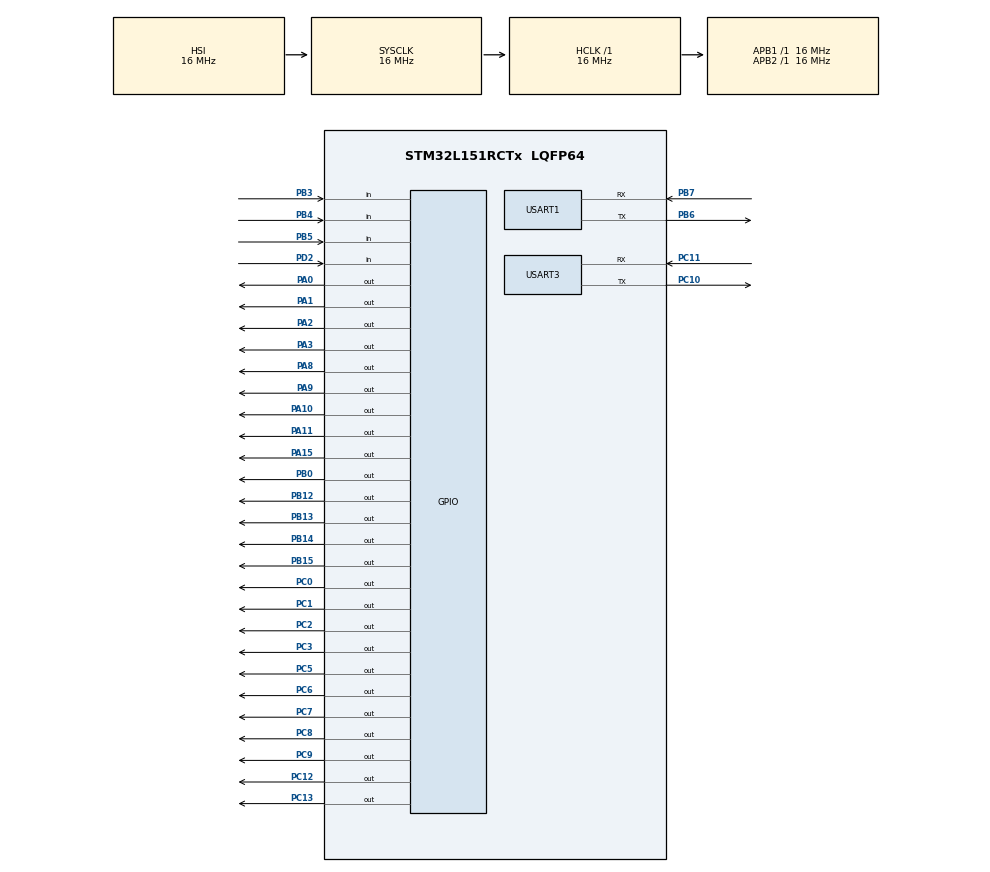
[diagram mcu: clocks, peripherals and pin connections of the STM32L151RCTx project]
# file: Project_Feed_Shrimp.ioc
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Mcu.Family=STM32L1
Mcu.Name=STM32L151RCTx
Mcu.Package=LQFP64
NVIC.PriorityGroup=NVIC_PRIORITYGROUP_4
NVIC.TIM2_IRQn=true\:1\:0\:true\:false\:true\:true\:true
NVIC.USART1_IRQn=true\:2\:0\:true\:false\:true\:true\:true
NVIC.USART3_IRQn=true\:3\:0\:true\:false\:true\:true\:true
PA0-WKUP1.Signal=GPIO_Output
PA1.Signal=GPIO_Output
PA10.Signal=GPIO_Output
PA11.Signal=GPIO_Output
PA13.Mode=Serial_Wire
PA13.Signal=SYS_JTMS-SWDIO
PA14.Mode=Serial_Wire
PA14.Signal=SYS_JTCK-SWCLK
PA15.Signal=GPIO_Output
PA2.Signal=GPIO_Output
PA3.Signal=GPIO_Output
PA8.Signal=GPIO_Output
PA9.Signal=GPIO_Output
PB0.Signal=GPIO_Output
PB12.Signal=GPIO_Output
PB13.Signal=GPIO_Output
PB14.Signal=GPIO_Output
PB15.Signal=GPIO_Output
PB3.GPIO_PuPd=GPIO_PULLUP
PB3.Signal=GPIO_Input
PB4.GPIO_PuPd=GPIO_PULLUP
PB4.Signal=GPIO_Input
PB5.GPIO_PuPd=GPIO_PULLUP
PB5.Signal=GPIO_Input
PB6.Mode=Asynchronous
PB6.Signal=USART1_TX
PB7.Mode=Asynchronous
PB7.Signal=USART1_RX
PC0.Signal=GPIO_Output
PC1.Signal=GPIO_Output
PC10.Mode=Asynchronous
PC10.Signal=USART3_TX
PC11.Mode=Asynchronous
PC11.Signal=USART3_RX
PC12.Signal=GPIO_Output
PC13-WKUP2.Signal=GPIO_Output
PC2.Signal=GPIO_Output
PC3.Signal=GPIO_Output
PC5.Signal=GPIO_Output
PC6.Signal=GPIO_Output
PC7.Signal=GPIO_Output
PC8.Signal=GPIO_Output
PC9.Signal=GPIO_Output
PD2.GPIO_PuPd=GPIO_PULLUP
PD2.Signal=GPIO_Input
ProjectManager.HeapSize=0x200
ProjectManager.StackSize=0x400
ProjectManager.TargetToolchain=MDK-ARM V5
RCC.AHBFreq_Value=16000000
RCC.APB1Freq_Value=16000000
RCC.APB1TimFreq_Value=16000000
RCC.APB2Freq_Value=16000000
RCC.APB2TimFreq_Value=16000000
RCC.HCLKFreq_Value=16000000
RCC.HSE_VALUE=24000000
RCC.HSI_VALUE=16000000
RCC.LSE_VALUE=32768
RCC.MSI_VALUE=2097000
RCC.SYSCLKFreq_VALUE=16000000
RCC.SYSCLKSource=RCC_SYSCLKSOURCE_HSI
RCC.VCOOutputFreq_Value=48000000
TIM2.Period=1000
TIM2.Prescaler=16000
USART1.VirtualMode=VM_ASYNC
USART3.VirtualMode=VM_ASYNC
VP_TIM2_VS_ClockSourceINT.Mode=Internal
board=custom

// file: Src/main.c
/* USER CODE BEGIN Header */
/**
  ******************************************************************************
  * @file           : main.c
  * @brief          : Main program body
  ******************************************************************************
  * @attention
  *
  * <h2><center>&copy; Copyright (c) 2023 STMicroelectronics.
  * All rights reserved.</center></h2>
  *
  * This software component is licensed by ST under BSD 3-Clause license,
  * the "License"; You may not use this file except in compliance with the
  * License. You may obtain a copy of the License at:
  *                        opensource.org/licenses/BSD-3-Clause
  *
  ******************************************************************************
  */
/* USER CODE END Header */

#include "main.h"

/* USER CODE BEGIN Includes */
#include "main.h"
#include "CLCD.h"
#include "user_LCD.h"
#include "check_Button.h"
#include "Relay_Led.h"
#include "user_LCD_object.h"
#include "user_check_button.h"
#include "uart_sim.h"
#include "user_sim.h"
/* USER CODE END Includes */

/* USER CODE BEGIN PD */
#define RELAY1 GPIO_PIN_2
#define RELAY2 GPIO_PIN_3
#define RELAY3 GPIO_PIN_0
#define RELAY4 GPIO_PIN_1
#define LED5   GPIO_PIN_0
#define LED6   GPIO_PIN_1

#define On_Off_Sim GPIO_PIN_13
#define Pin_PWKEY  GPIO_PIN_0
#define Pin_RESET  GPIO_PIN_5
/* USER CODE END PD */

TIM_HandleTypeDef htim2;

UART_HandleTypeDef huart1;
UART_HandleTypeDef huart3;

/* USER CODE BEGIN PV */
uint32_t runTime=0;
uint32_t time1=10; //so giay cho an
uint32_t time2=10;	//so phut giua 2 chu ky ban
uint32_t time3=5; //thoi gian giua 2 moto vang va chinh luong

uint16_t State=1;
uint16_t checkState=0;
uint16_t countState=0;
uint16_t setupCount=1;
uint16_t check_Power_OFF=0;

//gio phut giay
uint16_t hh, mm, ss;

CLCD_Name LCD;

UART_BUFFER rx_uart3;
UART_BUFFER rx_uart1;
/* USER CODE END PV */

void SystemClock_Config(void);
static void MX_GPIO_Init(void);
static void MX_TIM2_Init(void);
static void MX_USART1_UART_Init(void);
static void MX_USART3_UART_Init(void);
/* USER CODE BEGIN PFP */
void HAL_TIM_PeriodElapsedCallback(TIM_HandleTypeDef *htim);
void HAL_UART_RxCpltCallback(UART_HandleTypeDef *huart);
/* USER CODE END PFP */

/* USER CODE BEGIN 0 */
void Delay_1ms(void);
void Delay_s(int time);
void Check_BT_Callback(void);
void Check_Test(void);
void Set_Time(uint16_t *hh, uint16_t *mm, uint16_t *ss);
void Run_Feed_Shrimp(void);
void BT_Check_Up_Down(void);
void Display_Time(void);
void Setup_SIM(void);
void Read_Flash(void);
void Check_SMS_Receive(void);
/* USER CODE END 0 */

int main(void)
{
  /* USER CODE BEGIN 1 */
	rx_uart1.huart=&huart1;
	rx_uart3.huart=&huart3;
  /* USER CODE END 1 */

  /* MCU Configuration--------------------------------------------------------*/

  /* Reset of all peripherals, Initializes the Flash interface and the Systick. */
  HAL_Init();

  /* Configure the system clock */
  SystemClock_Config();

  /* Initialize all configured peripherals */
  MX_GPIO_Init();
  MX_TIM2_Init();
  MX_USART1_UART_Init();
  MX_USART3_UART_Init();
  /* USER CODE BEGIN 2 */
	HAL_TIM_Base_Start_IT(&htim2);
	HAL_UART_Receive_IT(&huart3,&rx_uart3.buffer,1);
	HAL_UART_Receive_IT(&huart1,&rx_uart1.buffer,1);

	CLCD_4BIT_Init(&LCD, 16,2, GPIOC, GPIO_PIN_8,GPIOC, GPIO_PIN_7,
                             GPIOC, GPIO_PIN_6,GPIOB, GPIO_PIN_15,
                             GPIOB, GPIO_PIN_14,GPIOB, GPIO_PIN_12);

	Setup_SIM();
	Read_Flash();

	CLCD_SetCursor(&LCD, 0,0);
	CLCD_WriteString(&LCD, "        00:00:00");

	//Receive_SMS_Setup("+CMT: +84966674796,23/03/14,09:34:14+28 SETUP T1=  100  t3:199", &time1, &time2, &time3);
	Run_Begin(&setupCount, time1, time2, time3);
  /* USER CODE END 2 */

  /* Infinite loop */
	while (1)
  {

    /* USER CODE BEGIN 3 */
		//while(Compare_Uart1_RX_Uart3_TX(&rx_uart1, &rx_uart3, "OK123")==0){}

		Check_SMS_Receive();

		Display_Time();
		Check_BT_Callback();

		if(State==0 )
		{
			Check_Test();
			BT_Esc_Exit_Setup(&State, &setupCount, &time1, &time2, &time3);
			USER_LCD_Display_Running_OR_Setup(State);
			if(setupCount!=3) BT_Check_Up_Down();
			USER_LCD_Display_Setup(&LCD, setupCount);
		}

		if(State==1)
		{
			Run_Feed_Shrimp();
			USER_LCD_Display_Running_OR_Setup(State);
			USER_LCD_Display_Running(&LCD, setupCount);
			Check_Test();
		}
  }
  /* USER CODE END 3 */
}

void SystemClock_Config(void)
{
  RCC_OscInitTypeDef RCC_OscInitStruct = {0};
  RCC_ClkInitTypeDef RCC_ClkInitStruct = {0};

  /** Configure the main internal regulator output voltage
  */
  __HAL_PWR_VOLTAGESCALING_CONFIG(PWR_REGULATOR_VOLTAGE_SCALE1);
  /** Initializes the CPU, AHB and APB busses clocks
  */
  RCC_OscInitStruct.OscillatorType = RCC_OSCILLATORTYPE_HSI;
  RCC_OscInitStruct.HSIState = RCC_HSI_ON;
  RCC_OscInitStruct.HSICalibrationValue = RCC_HSICALIBRATION_DEFAULT;
  RCC_OscInitStruct.PLL.PLLState = RCC_PLL_NONE;
  if (HAL_RCC_OscConfig(&RCC_OscInitStruct) != HAL_OK)
  {
    Error_Handler();
  }
  /** Initializes the CPU, AHB and APB busses clocks
  */
  RCC_ClkInitStruct.ClockType = RCC_CLOCKTYPE_HCLK|RCC_CLOCKTYPE_SYSCLK
                              |RCC_CLOCKTYPE_PCLK1|RCC_CLOCKTYPE_PCLK2;
  RCC_ClkInitStruct.SYSCLKSource = RCC_SYSCLKSOURCE_HSI;
  RCC_ClkInitStruct.AHBCLKDivider = RCC_SYSCLK_DIV1;
  RCC_ClkInitStruct.APB1CLKDivider = RCC_HCLK_DIV1;
  RCC_ClkInitStruct.APB2CLKDivider = RCC_HCLK_DIV1;

  if (HAL_RCC_ClockConfig(&RCC_ClkInitStruct, FLASH_LATENCY_0) != HAL_OK)
  {
    Error_Handler();
  }
}

static void MX_TIM2_Init(void)
{

  TIM_ClockConfigTypeDef sClockSourceConfig = {0};
  TIM_MasterConfigTypeDef sMasterConfig = {0};

  htim2.Instance = TIM2;
  htim2.Init.Prescaler = 16000;
  htim2.Init.CounterMode = TIM_COUNTERMODE_UP;
  htim2.Init.Period = 1000;
  htim2.Init.ClockDivision = TIM_CLOCKDIVISION_DIV1;
  htim2.Init.AutoReloadPreload = TIM_AUTORELOAD_PRELOAD_DISABLE;
  if (HAL_TIM_Base_Init(&htim2) != HAL_OK)
  {
    Error_Handler();
  }
  sClockSourceConfig.ClockSource = TIM_CLOCKSOURCE_INTERNAL;
  if (HAL_TIM_ConfigClockSource(&htim2, &sClockSourceConfig) != HAL_OK)
  {
    Error_Handler();
  }
  sMasterConfig.MasterOutputTrigger = TIM_TRGO_RESET;
  sMasterConfig.MasterSlaveMode = TIM_MASTERSLAVEMODE_DISABLE;
  if (HAL_TIMEx_MasterConfigSynchronization(&htim2, &sMasterConfig) != HAL_OK)
  {
    Error_Handler();
  }

}

static void MX_USART1_UART_Init(void)
{

  huart1.Instance = USART1;
  huart1.Init.BaudRate = 115200;
  huart1.Init.WordLength = UART_WORDLENGTH_8B;
  huart1.Init.StopBits = UART_STOPBITS_1;
  huart1.Init.Parity = UART_PARITY_NONE;
  huart1.Init.Mode = UART_MODE_TX_RX;
  huart1.Init.HwFlowCtl = UART_HWCONTROL_NONE;
  huart1.Init.OverSampling = UART_OVERSAMPLING_16;
  if (HAL_UART_Init(&huart1) != HAL_OK)
  {
    Error_Handler();
  }

}

static void MX_USART3_UART_Init(void)
{

  huart3.Instance = USART3;
  huart3.Init.BaudRate = 115200;
  huart3.Init.WordLength = UART_WORDLENGTH_8B;
  huart3.Init.StopBits = UART_STOPBITS_1;
  huart3.Init.Parity = UART_PARITY_NONE;
  huart3.Init.Mode = UART_MODE_TX_RX;
  huart3.Init.HwFlowCtl = UART_HWCONTROL_NONE;
  huart3.Init.OverSampling = UART_OVERSAMPLING_16;
  if (HAL_UART_Init(&huart3) != HAL_OK)
  {
    Error_Handler();
  }

}

static void MX_GPIO_Init(void)
{
  GPIO_InitTypeDef GPIO_InitStruct = {0};

  /* GPIO Ports Clock Enable */
  __HAL_RCC_GPIOC_CLK_ENABLE();
  __HAL_RCC_GPIOA_CLK_ENABLE();
  __HAL_RCC_GPIOB_CLK_ENABLE();
  __HAL_RCC_GPIOD_CLK_ENABLE();

  /*Configure GPIO pin Output Level */
  HAL_GPIO_WritePin(GPIOC, GPIO_PIN_13|GPIO_PIN_0|GPIO_PIN_1|GPIO_PIN_2
                          |GPIO_PIN_3|GPIO_PIN_5|GPIO_PIN_6|GPIO_PIN_7
                          |GPIO_PIN_8|GPIO_PIN_9|GPIO_PIN_12, GPIO_PIN_RESET);

  /*Configure GPIO pin Output Level */
  HAL_GPIO_WritePin(GPIOA, GPIO_PIN_0|GPIO_PIN_1|GPIO_PIN_2|GPIO_PIN_3
                          |GPIO_PIN_8|GPIO_PIN_9|GPIO_PIN_10|GPIO_PIN_11
                          |GPIO_PIN_15, GPIO_PIN_RESET);

  /*Configure GPIO pin Output Level */
  HAL_GPIO_WritePin(GPIOB, GPIO_PIN_0|GPIO_PIN_12|GPIO_PIN_13|GPIO_PIN_14
                          |GPIO_PIN_15, GPIO_PIN_RESET);

  /*Configure GPIO pins : PC13 PC0 PC1 PC2
                           PC3 PC5 PC6 PC7
                           PC8 PC9 PC12 */
  GPIO_InitStruct.Pin = GPIO_PIN_13|GPIO_PIN_0|GPIO_PIN_1|GPIO_PIN_2
                          |GPIO_PIN_3|GPIO_PIN_5|GPIO_PIN_6|GPIO_PIN_7
                          |GPIO_PIN_8|GPIO_PIN_9|GPIO_PIN_12;
  GPIO_InitStruct.Mode = GPIO_MODE_OUTPUT_PP;
  GPIO_InitStruct.Pull = GPIO_NOPULL;
  GPIO_InitStruct.Speed = GPIO_SPEED_FREQ_LOW;
  HAL_GPIO_Init(GPIOC, &GPIO_InitStruct);

  /*Configure GPIO pins : PA0 PA1 PA2 PA3
                           PA8 PA9 PA10 PA11
                           PA15 */
  GPIO_InitStruct.Pin = GPIO_PIN_0|GPIO_PIN_1|GPIO_PIN_2|GPIO_PIN_3
                          |GPIO_PIN_8|GPIO_PIN_9|GPIO_PIN_10|GPIO_PIN_11
                          |GPIO_PIN_15;
  GPIO_InitStruct.Mode = GPIO_MODE_OUTPUT_PP;
  GPIO_InitStruct.Pull = GPIO_NOPULL;
  GPIO_InitStruct.Speed = GPIO_SPEED_FREQ_LOW;
  HAL_GPIO_Init(GPIOA, &GPIO_InitStruct);

  /*Configure GPIO pins : PB0 PB12 PB13 PB14
                           PB15 */
  GPIO_InitStruct.Pin = GPIO_PIN_0|GPIO_PIN_12|GPIO_PIN_13|GPIO_PIN_14
                          |GPIO_PIN_15;
  GPIO_InitStruct.Mode = GPIO_MODE_OUTPUT_PP;
  GPIO_InitStruct.Pull = GPIO_NOPULL;
  GPIO_InitStruct.Speed = GPIO_SPEED_FREQ_LOW;
  HAL_GPIO_Init(GPIOB, &GPIO_InitStruct);

  /*Configure GPIO pin : PD2 */
  GPIO_InitStruct.Pin = GPIO_PIN_2;
  GPIO_InitStruct.Mode = GPIO_MODE_INPUT;
  GPIO_InitStruct.Pull = GPIO_PULLUP;
  HAL_GPIO_Init(GPIOD, &GPIO_InitStruct);

  /*Configure GPIO pins : PB3 PB4 PB5 */
  GPIO_InitStruct.Pin = GPIO_PIN_3|GPIO_PIN_4|GPIO_PIN_5;
  GPIO_InitStruct.Mode = GPIO_MODE_INPUT;
  GPIO_InitStruct.Pull = GPIO_PULLUP;
  HAL_GPIO_Init(GPIOB, &GPIO_InitStruct);

}

/* USER CODE BEGIN 4 */

void Check_SMS_Receive(void)
{
	if(Wait_SMS_Receive(&rx_uart1,&rx_uart3,"AT+RESET")==1)
	{
		Reset_Relay_Led(GPIOC, RELAY1, GPIOC, RELAY2,GPIOC, LED5);
		Reset_Relay_Led(GPIOA, RELAY3, GPIOA, RELAY4,GPIOC, LED6);
		runTime=0;
		countState=0;
		Delete_Buffer(&rx_uart3);
	}
	if(Wait_SMS_Receive(&rx_uart1,&rx_uart3,"SETUP")==1)
	{
		Receive_SMS_Setup(rx_uart3.sim_rx, &time1, &time2, &time3);
		Reset_Relay_Led(GPIOC, RELAY1, GPIOC, RELAY2,GPIOC, LED5);
		Reset_Relay_Led(GPIOA, RELAY3, GPIOA, RELAY4,GPIOC, LED6);
		runTime=0;
		countState=0;
		State=1;
		FLASH_WritePage(FLASH_USER_START_ADDR, FLASH_USER_END_ADDR, 1, time1, time2, time3);
		Run_Begin(&setupCount, time1, time2, time3);
		Delete_Buffer(&rx_uart3);
	}
}

void Run_Feed_Shrimp(void)
{
	if(countState==0)
	{
		Set_Relay_Led(GPIOC, RELAY1, GPIOC, RELAY2,GPIOC, LED5);
		countState++;
		runTime=0;
	}
	if(countState==1 && runTime>=time3 )
	{
		Set_Relay_Led(GPIOA, RELAY3, GPIOA, RELAY4,GPIOC, LED6);
		countState++;
		runTime=0;
	}
	if(countState==2 && runTime>=time1 )
	{
		Reset_Relay_Led(GPIOA, RELAY3, GPIOA, RELAY4,GPIOC, LED6);
		countState++;
		runTime=0;
	}
	if(countState==3 && runTime>=time3 )
	{
		Reset_Relay_Led(GPIOC, RELAY1, GPIOC, RELAY2,GPIOC, LED5);
		countState++;
		runTime=0;
	}
	if(countState==4 && runTime>=time2)
	{
		runTime=0;
		countState=0;
	}
}

void Check_BT_Callback(void)
{
	Check_BT_ENTER(&State, &checkState, &setupCount, &time1, &time2, &time3);
	Check_BT_ESC(State, &setupCount);
	Check_BT_UP(State);
	Check_BT_DOWN(State);

	//Check_Test();
}

void Set_Time(uint16_t *hh, uint16_t *mm, uint16_t *ss)
{
	const uint16_t MINUTES_OF_THE_HOUR=60;
	const uint16_t SECOND_OF_THE_HOUR=60;
	const uint32_t SECOND_OF_THE_DAY=86400;

	*hh=runTime/(MINUTES_OF_THE_HOUR*SECOND_OF_THE_HOUR);
	*mm=(runTime-(*hh)*MINUTES_OF_THE_HOUR*SECOND_OF_THE_HOUR)/SECOND_OF_THE_HOUR;
	*ss=(runTime-(*hh)*MINUTES_OF_THE_HOUR*SECOND_OF_THE_HOUR-(*mm)*SECOND_OF_THE_HOUR);

	if(runTime>=SECOND_OF_THE_DAY-1)
	{
	runTime=0; *hh=0; *mm=0; *ss=0;
	}
}

void Check_Test(void)
{
	if(checkState==1)
	{
		Reset_Relay_Led(GPIOC, RELAY1, GPIOC, RELAY2,GPIOC, LED5);
		Reset_Relay_Led(GPIOA, RELAY3, GPIOA, RELAY4,GPIOC, LED6);
		countState=0;
		runTime=0;
		checkState=0;
	}
	if(State==0)
	{
		Reset_Relay_Led(GPIOC, RELAY1, GPIOC, RELAY2,GPIOC, LED5);
			Reset_Relay_Led(GPIOA, RELAY3, GPIOA, RELAY4,GPIOC, LED6);
			countState=0;
			runTime=0;
	}
}

void Display_Time(void)
{
	Set_Time(&hh, &mm, &ss);
	LCD_Change_State_Time_HH_MM_SS(hh, mm, ss);
	UintTime_To_CharTime_HH_MM_SS(hh,  mm, ss);
	USER_LCD_Display_Time(&LCD);
}

void Setup_SIM(void)
{
	float PWM_runtime_LCD=1.32;
	CLCD_SetCursor(&LCD, 2,0);
	CLCD_WriteString(&LCD, "Loading SIM");
	while(runTime<=22)
	{
	Setup_On_Off_Sim(GPIOB, On_Off_Sim,
                   GPIOB, Pin_PWKEY,
									 GPIOC, Pin_RESET, runTime);
	CLCD_SetCursor(&LCD, runTime/PWM_runtime_LCD,1);
	CLCD_WriteString(&LCD, ".");
	}
	if(runTime<=25)
	{
	CLCD_SetCursor(&LCD, 2,0);
	CLCD_WriteString(&LCD, " Config SIM");
	}
	Delete_Buffer(&rx_uart3);
	Config_Uart_Sim(&rx_uart1,&rx_uart3);
	Config_SMS_Receive(&rx_uart1, &rx_uart3);
}

void Read_Flash(void)
{
	check_Power_OFF=FLASH_ReadData32(FLASH_USER_START_ADDR);

	if(check_Power_OFF == 1)
	{
		time1=FLASH_ReadData32(FLASH_USER_START_ADDR + 4);
		time2=FLASH_ReadData32(FLASH_USER_START_ADDR + 8);
		time3=FLASH_ReadData32(FLASH_USER_START_ADDR + 12);
	}
}

void HAL_TIM_PeriodElapsedCallback(TIM_HandleTypeDef *htim)
{
  UNUSED(htim);
	runTime++;
}

void HAL_UART_RxCpltCallback(UART_HandleTypeDef *huart)
{
  /* Prevent unused argument(s) compilation warning */
  UNUSED(huart);
	if(huart->Instance == huart3.Instance)
	{
		rx_uart3.sim_rx[(rx_uart3.countBuffer)++]= rx_uart3.buffer;
		HAL_UART_Receive_IT(&huart3,&rx_uart3.buffer,1);

	}

	if(huart->Instance == huart1.Instance)
	{
		rx_uart1.sim_rx[(rx_uart1.countBuffer)++]= rx_uart1.buffer;
		HAL_UART_Receive_IT(&huart1,&rx_uart1.buffer,1);
	}
  /* NOTE: This function should not be modified, when the callback is needed,
           the HAL_UART_RxCpltCallback could be implemented in the user file
   */
}

void Delay_1ms(void)
{
	__HAL_TIM_SetCounter(&htim2,0);
	while (__HAL_TIM_GetCounter(&htim2)<1000);
}
void Delay_s(int time)
{
	int i=0;
	for(i=0;i<time;i++)
	{
		Delay_1ms();
	}
}

/* USER CODE END 4 */

void Error_Handler(void)
{
}

/************************ (C) COPYRIGHT STMicroelectronics *****END OF FILE****/
